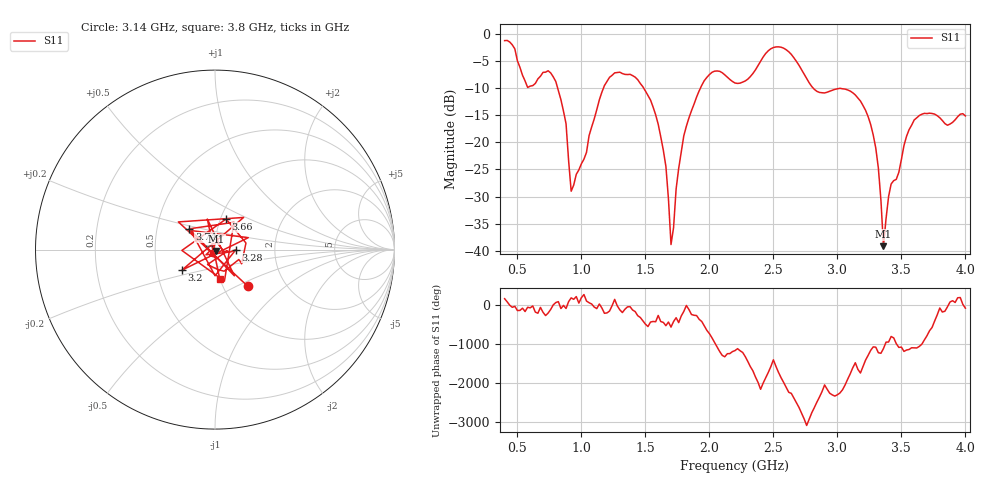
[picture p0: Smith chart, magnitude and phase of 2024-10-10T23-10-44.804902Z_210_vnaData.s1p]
! Created with skrf (http://scikit-rf.org).
# Hz S RI R 50.0
!freq ReS11 ImS11
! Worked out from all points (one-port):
!   181 points, 400 MHz to 4 GHz, reference 50 ohm
!   lowest |S11| = -39.1 dB at 3.36 GHz (marker M1), VSWR 1.02, Z = 50.8 - j0.775 ohm
!   |S11| at or under -10 dB: 813.9 MHz to 1.173 GHz (358.8 MHz wide, 36.1 % of centre); 1.486 GHz to 1.931 GHz (444.7 MHz wide, 26 % of centre); 2.81 GHz to end of sweep
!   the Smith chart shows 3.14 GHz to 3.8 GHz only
!   S11 on the Smith chart (normalised r, x): 3.14 GHz: 1.30, -0.57; 3.2 GHz: 0.67, -0.16; 3.28 GHz: 1.26, -0.00; 3.66 GHz: 1.06, +0.38; 3.74 GHz: 0.73, +0.18; 3.8 GHz: 1.00, -0.34
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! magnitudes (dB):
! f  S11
! 400 MHz  -1.3
! 580 MHz  -9.9
! 760 MHz  -7.2
! 860 MHz  -14.3
! 920 MHz  -29.0
! 1.18 GHz  -9.5
! 1.3 GHz  -7.1
! 1.58 GHz  -14.9
! 1.66 GHz  -24.4
! 1.7 GHz  -38.8
! 1.76 GHz  -24.8
! 1.96 GHz  -8.7
! 2.2 GHz  -9.1
! 2.5 GHz  -2.6
! 2.66 GHz  -4.4
! 2.84 GHz  -10.6
! 3.1 GHz  -10.6
! 3.14 GHz  -11.3
! 3.2 GHz  -13.2
! 3.28 GHz  -18.7
! 3.32 GHz  -24.7
! 3.36 GHz  -39.1
! 3.42 GHz  -27.7
! 3.56 GHz  -17.7
! 3.66 GHz  -14.8
! 3.74 GHz  -14.7
! 3.8 GHz  -15.5
! 4 GHz  -15.2
